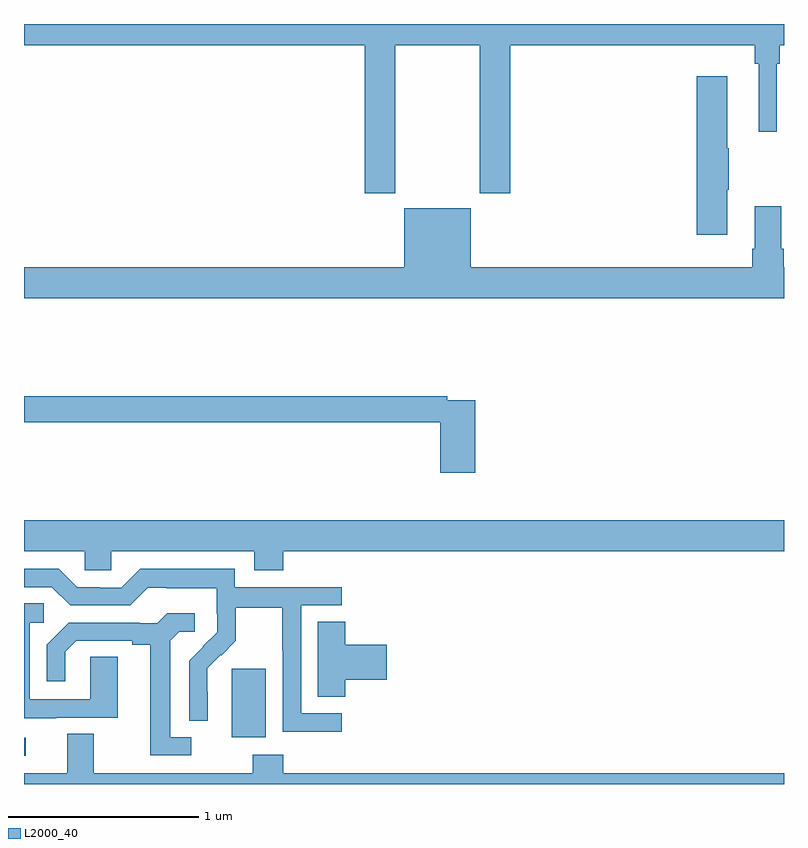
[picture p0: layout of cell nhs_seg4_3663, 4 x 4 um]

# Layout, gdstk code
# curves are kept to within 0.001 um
import gdstk
lib = gdstk.Library(unit=1e-6, precision=1e-09)
def R(c, l, rs):  # rectangles x0, y0, x1, y1
    for r in rs: c.add(gdstk.rectangle(r[:2], r[2:], *l))
def P(c, l, *ps):  # polygons
    for p in ps: c.add(gdstk.Polygon(p, *l))
L2000_40 = (2000, 40)

nhs_seg4_3663 = lib.new_cell('nhs_seg4_3663')
R(nhs_seg4_3663, L2000_40, [(303,825.048,303.01,825.144), (304.094,825.146,304.273,825.507)])
P(nhs_seg4_3663, L2000_40, [(303,828.788),(304.793,828.788),(304.793,828.009),(304.953,828.009),(304.953,828.788),(305.398,828.788),(305.398,828.009),(305.558,828.009),(305.558,828.788),(306.847,828.788),(306.847,828.692),(306.866,828.692),(306.866,828.333),(306.963,828.333),(306.963,828.692),(306.977,828.692),(306.977,828.788),(307,828.788),(307,828.9),(303,828.9)],
  [(306.7,828.028),(306.708,828.028),(306.708,828.245),(306.7,828.245),(306.7,828.625),(306.542,828.625),(306.542,827.79),(306.7,827.79)],
  [(307,827.62),(306.998,827.62),(306.998,827.716),(306.985,827.716),(306.985,827.941),(306.845,827.941),(306.845,827.716),(306.833,827.716),(306.833,827.62),(305.35,827.62),(305.35,827.929),(305,827.929),(305,827.62),(303,827.62),(303,827.456),(307,827.456)],
  [(305.375,826.92),(305.228,826.92),(305.228,826.94),(303,826.94),(303,826.804),(305.192,826.804),(305.192,826.539),(305.375,826.539)],
  [(304.364,826.124),(307,826.124),(307,826.288),(303,826.288),(303,826.124),(303.321,826.124),(303.321,826.026),(303.459,826.026),(303.459,826.124),(304.211,826.124),(304.211,826.025),(304.364,826.025)],
  [(304.672,825.273),(304.458,825.273),(304.458,825.84),(304.672,825.84),(304.672,825.936),(304.11,825.936),(304.11,826.033),(303.613,826.033),(303.513,825.933),(303.398,825.933),(303.398,825.936),(303.279,825.936),(303.183,826.032),(303,826.032),(303,825.936),(303.147,825.936),(303.243,825.84),(303.558,825.84),(303.651,825.933),(303.751,825.933),(303.751,825.929),(304.014,825.929),(304.014,825.795),(304.016,825.795),(304.016,825.698),(303.87,825.55),(303.87,825.232),(303.966,825.232),(303.965,825.509),(304.035,825.579),(304.038,825.576),(304.115,825.653),(304.115,825.828),(304.36,825.828),(304.36,825.604),(304.362,825.604),(304.362,825.175),(304.672,825.175)],
  [(303.169,825.249),(303.493,825.249),(303.493,825.569),(303.348,825.569),(303.348,825.345),(303.03,825.345),(303.03,825.75),(303.103,825.75),(303.103,825.851),(303,825.851),(303,825.245),(303.169,825.245)],
  [(303.88,825.147),(303.769,825.147),(303.769,825.655),(303.816,825.702),(303.898,825.702),(303.898,825.799),(303.754,825.799),(303.702,825.747),(303.608,825.747),(303.608,825.75),(303.236,825.75),(303.12,825.634),(303.12,825.441),(303.217,825.441),(303.217,825.597),(303.274,825.654),(303.569,825.654),(303.569,825.632),(303.665,825.632),(303.665,825.051),(303.88,825.051)],
  [(304.691,825.449),(304.909,825.449),(304.909,825.632),(304.691,825.632),(304.691,825.755),(304.547,825.755),(304.547,825.358),(304.691,825.358)],
  [(307,824.956),(304.364,824.956),(304.364,825.055),(304.204,825.055),(304.204,824.956),(303.367,824.956),(303.367,825.164),(303.227,825.164),(303.227,824.956),(303,824.956),(303,824.9),(307,824.9)])

lib.write_gds('nhs_seg4_3663.gds')
